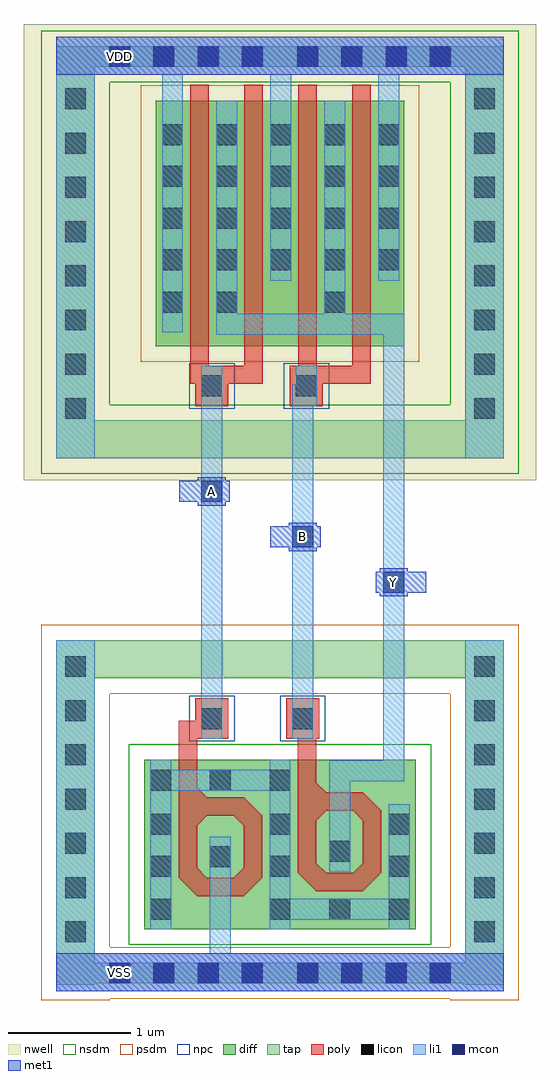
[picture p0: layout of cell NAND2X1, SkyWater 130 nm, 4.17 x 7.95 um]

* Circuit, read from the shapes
.subckt NAND2X1 A B VDD VSS Y
XM1 n1 A VSS VSS sky130_fd_pr__nfet_01v8 w=2.6 l=0.1491
XM2 n1 B Y VSS sky130_fd_pr__nfet_01v8 w=2.56 l=0.1465
XM3 Y A VDD VDD sky130_fd_pr__pfet_01v8 w=2 l=0.15 m=2
XM4 Y B VDD VDD sky130_fd_pr__pfet_01v8 w=2 l=0.15 m=2
.ends

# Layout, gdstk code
import gdstk
lib = gdstk.Library(unit=1e-6, precision=1e-09)
def R(c, l, rs):  # rectangles x0, y0, x1, y1
    for r in rs: c.add(gdstk.rectangle(r[:2], r[2:], *l))
def A(c, l, x, y, w, h, nx, ny, dx, dy):  # array of equal rectangles
    R(c, l, [(x+i*dx, y+j*dy, x+i*dx+w, y+j*dy+h) for i in range(nx) for j in range(ny)])
def P(c, l, *ps):  # polygons
    for p in ps: c.add(gdstk.Polygon(p, *l))
nwell = (64, 20)
diff = (65, 20)
tap = (65, 44)
poly = (66, 20)
licon = (66, 44)
li1 = (67, 20)
mcon = (67, 44)
met1 = (68, 20)
nsdm = (93, 44)
psdm = (94, 20)
npc = (95, 20)

nand2x1 = lib.new_cell('NAND2X1')
R(nand2x1, nwell, [(-0.42,4.16,3.75,7.875)])
R(nand2x1, diff, [(0.56,0.505,2.77,1.885), (0.655,5.25,2.675,7.25)])
R(nand2x1, tap, [(-0.155,0.055,0.155,0.065), (3.175,0.055,3.485,0.065), (-0.155,0.065,3.485,0.235), (-0.155,0.235,0.155,2.55), (3.175,0.235,3.485,2.55), (-0.155,2.55,3.485,2.86), (-0.155,4.34,3.485,4.65), (-0.155,4.65,0.155,7.525), (3.175,4.65,3.485,7.525), (-0.155,7.525,3.485,7.695)])
A(nand2x1, poly, 0.935, 5.095, 0.15, 2.285, 4, 1, 0.44, 0)
R(nand2x1, poly, [(0.99,0.775,1.37,0.925), (1.96,0.815,2.34,0.965), (0.84,0.925,0.99,1.43), (1.37,0.925,1.52,1.43), (1.81,0.965,1.96,1.47), (2.34,0.965,2.49,1.47), (0.84,1.43,1.37,1.58), (1.81,1.47,2.34,1.62), (0.84,1.58,0.99,2.055), (1.81,1.62,1.96,2.055), (0.84,2.055,1.245,2.205), (1.715,2.055,1.985,2.385), (0.975,2.205,1.245,2.385), (0.975,4.765,1.245,4.945), (1.745,4.765,2.015,4.945), (0.935,4.945,1.525,5.095), (1.745,4.945,2.405,5.095)])
P(nand2x1, poly, [(0.99,1.66),(0.99,1.58),(1.07,1.58)],
  [(1.96,1.7),(1.96,1.62),(2.04,1.62)],
  [(1.37,1.58),(1.37,1.43),(1.52,1.43)],
  [(0.99,1.35),(0.99,1.43),(1.07,1.43)],
  [(1.29,1.43),(1.37,1.43),(1.37,1.35)],
  [(0.99,1.005),(0.99,0.925),(1.07,0.925)],
  [(1.29,0.925),(1.37,0.925),(1.37,1.005)],
  [(0.84,0.925),(0.99,0.925),(0.99,0.775)],
  [(1.37,0.775),(1.37,0.925),(1.52,0.925)],
  [(2.34,1.62),(2.34,1.47),(2.49,1.47)],
  [(1.96,1.39),(1.96,1.47),(2.04,1.47)],
  [(2.26,1.47),(2.34,1.47),(2.34,1.39)],
  [(1.96,1.045),(1.96,0.965),(2.04,0.965)],
  [(2.26,0.965),(2.34,0.965),(2.34,1.045)],
  [(1.81,0.965),(1.96,0.965),(1.96,0.815)],
  [(2.34,0.815),(2.34,0.965),(2.49,0.965)])
A(nand2x1, licon, 0.275, 0.065, 0.17, 0.17, 4, 2, 0.36, 7.46)
A(nand2x1, licon, 1.805, 0.065, 0.17, 0.17, 4, 2, 0.36, 7.46)
A(nand2x1, licon, -0.085, 0.4, 0.17, 0.17, 1, 7, 0, 0.36)
A(nand2x1, licon, 3.245, 0.4, 0.17, 0.17, 1, 7, 0, 0.36)
A(nand2x1, licon, 1.58, 0.585, 0.17, 0.17, 3, 1, 0.485, 0)
A(nand2x1, licon, 0.61, 0.935, 0.17, 0.17, 3, 2, 0.97, 0.34)
A(nand2x1, licon, 0.61, 1.635, 0.17, 0.17, 3, 1, 0.485, 0)
A(nand2x1, licon, -0.085, 4.66, 0.17, 0.17, 1, 8, 0, 0.36)
A(nand2x1, licon, 3.245, 4.66, 0.17, 0.17, 1, 8, 0, 0.36)
A(nand2x1, licon, 0.705, 5.87, 0.17, 0.17, 5, 4, 0.44, 0.34)
R(nand2x1, licon, [(0.61,0.585,0.78,0.755), (1.095,1.01,1.265,1.18), (2.065,1.055,2.235,1.225), (1.025,2.135,1.195,2.305), (1.765,2.135,1.935,2.305), (1.025,4.845,1.195,5.015), (1.795,4.845,1.965,5.015), (0.705,5.525,0.875,5.695), (1.145,5.525,1.315,5.695), (2.025,5.525,2.195,5.695)])
R(nand2x1, li1, [(-0.155,0,3.485,0.31), (-0.155,0.31,0.155,2.86), (1.095,0.31,1.265,1.26), (3.175,0.31,3.485,2.86), (0.61,0.505,0.78,1.635), (1.58,0.505,1.75,0.585), (2.55,0.505,2.72,0.585), (1.58,0.585,2.72,0.755), (1.58,0.755,1.75,1.635), (2.55,0.755,2.72,1.525), (2.065,0.975,2.235,1.71), (0.61,1.635,1.75,1.805), (2.065,1.71,2.675,1.88), (0.61,1.805,0.78,1.885), (1.58,1.805,1.75,1.885), (2.505,1.88,2.675,5.345), (1.025,2.055,1.195,5.095), (1.765,2.055,1.935,4.765), (-0.155,4.34,0.155,7.46), (3.175,4.34,3.485,7.46), (1.765,4.765,1.965,4.94), (1.795,4.94,1.965,5.095), (1.145,5.345,2.675,5.515), (0.705,5.365,0.875,7.46), (1.145,5.515,1.315,7.25), (2.025,5.515,2.195,7.25), (1.585,5.785,1.755,7.46), (2.465,5.785,2.635,7.46), (-0.155,7.46,3.485,7.77)])
A(nand2x1, mcon, 0.275, 0.065, 0.17, 0.17, 4, 2, 0.36, 7.46)
A(nand2x1, mcon, 1.805, 0.065, 0.17, 0.17, 4, 2, 0.36, 7.46)
R(nand2x1, mcon, [(2.505,3.245,2.675,3.415), (1.765,3.615,1.935,3.785), (1.025,3.985,1.195,4.155)])
R(nand2x1, met1, [(-0.155,0,3.485,0.31), (2.475,3.215,2.705,3.245), (2.445,3.245,2.855,3.415), (2.475,3.415,2.705,3.445), (1.735,3.585,1.965,3.615), (1.585,3.615,1.995,3.785), (1.735,3.785,1.965,3.815), (0.995,3.955,1.225,3.985), (0.845,3.985,1.255,4.155), (0.995,4.155,1.225,4.185), (-0.155,7.46,3.485,7.77)])
R(nand2x1, nsdm, [(0.435,0.38,2.895,2.01), (-0.28,4.215,3.61,4.775), (-0.28,4.775,0.28,7.4), (3.05,4.775,3.61,7.4), (-0.28,7.4,3.61,7.82)])
R(nand2x1, psdm, [(-0.28,-0.07,0.28,-0.06), (3.05,-0.07,3.61,-0.06), (-0.28,-0.06,3.61,0.36), (-0.28,0.36,0.28,2.425), (3.05,0.36,3.61,2.425), (-0.28,2.425,3.61,2.985), (0.53,5.125,2.8,7.375)])
R(nand2x1, npc, [(0.925,2.035,1.295,2.405), (1.665,2.035,2.035,2.405), (0.925,4.745,1.295,5.115), (1.695,4.745,2.065,5.115)])
nand2x1.add(gdstk.Label('Y', (2.59,3.33), layer=68, texttype=16))
nand2x1.add(gdstk.Label('A', (1.11,4.07), layer=68, texttype=16))
nand2x1.add(gdstk.Label('B', (1.85,3.7), layer=68, texttype=16))
nand2x1.add(gdstk.Label('VDD', (0.36,7.61), layer=68, texttype=16))
nand2x1.add(gdstk.Label('VSS', (0.36,0.15), layer=68, texttype=16))

lib.write_gds('NAND2X1.gds')
